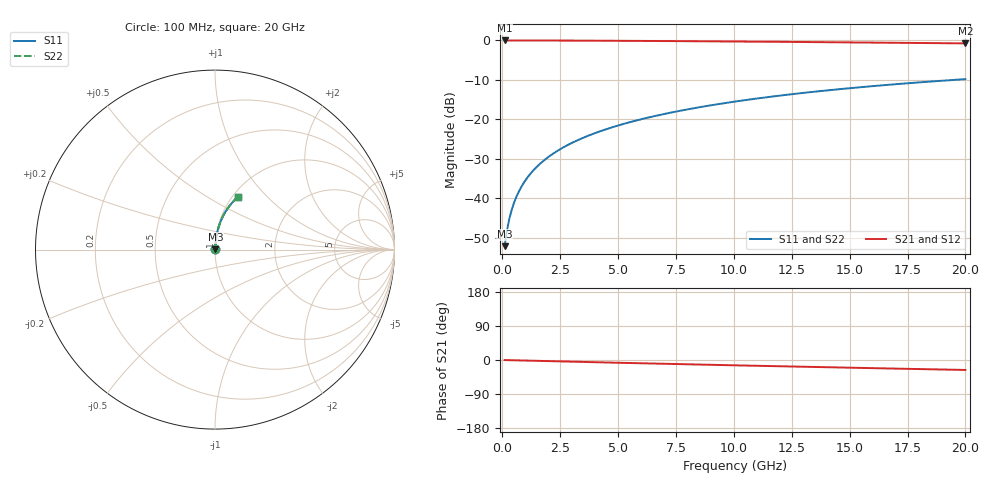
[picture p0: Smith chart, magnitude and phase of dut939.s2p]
! Touchstone file exported from HFSS 2024.1.0
!  File:  C:/UserFiles/LocalFiles/RDL_TSV_Batchsim/temp_RDL_top_939_1779937434.aedt
!  Generated:  11:07:17 AM May 28, 2026
!  Design:  RDL_top
!  Project:  temp_RDL_top_939_1779937434
!  Setup:  Setup1
!  Solution:  Sweep
! Variables:
!  dtsv = 10.80580581um
!  hbump = 3um
!  htsv = 90.66um
!  ldown = 100um
!  lrdl = 299.41um
!  p = 40
!  p1 = 55.69um
!  rhole = 1um
!  t = 450um
!  tdown = 3.915915916um
!  trdl = 4.63um
!  wdown = 15.38538539um
!  wrdl = 13.82um
# GHz S MA R 50.000000
! Terminal data exported
! Port[1] = Box2_T1
! Port[2] = Box2_T2
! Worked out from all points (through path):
!   200 points, 100 MHz to 20 GHz, reference 50 ohm
!   highest |S21| = -0.02 dB at 100 MHz (marker M1); lowest = -0.8 dB at 20 GHz (marker M2)
!   group delay of S21, straight-line fit = 3.63 ps
!   lowest |S11| = -52.1 dB at 100 MHz (marker M3), VSWR 1.00, Z = 50.2 + j0.173 ohm
!   |S11| at or under -10 dB: start of sweep to 19.53 GHz
!   |S22| runs from -52.1 to -9.8 dB; largest |S21 - S12| = 4e-15
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0.1  0.00247 44.3  0.9982 -0.2  0.9982 -0.2  0.00247 44.3
! Gamma 0 0 0 0
! Port Impedance 50 0 50 0
0.2  0.003874 62.0  0.9982 -0.3  0.9982 -0.3  0.003874 62.0
0.3  0.005426 69.9  0.9981 -0.5  0.9981 -0.5  0.005426 69.9
0.4  0.007023 74.2  0.9981 -0.6  0.9981 -0.6  0.007023 74.2
0.5  0.008644 76.9  0.998 -0.8  0.998 -0.8  0.008644 76.9
0.6  0.01028 78.8  0.9979 -0.9  0.9979 -0.9  0.01028 78.8
0.8  0.01357 81.1  0.9978 -1.2  0.9978 -1.2  0.01357 81.1
1.1  0.01854 82.9  0.9975 -1.6  0.9975 -1.6  0.01854 82.9
1.5  0.02519 84.0  0.997 -2.2  0.997 -2.2  0.02519 84.0
1.8  0.03018 84.4  0.9966 -2.7  0.9966 -2.7  0.03018 84.4
2.1  0.03517 84.5  0.9962 -3.1  0.9962 -3.1  0.03517 84.5
2.7  0.04516 84.6  0.995 -4.0  0.995 -4.0  0.04516 84.6
3.5  0.05848 84.3  0.9932 -5.1  0.9932 -5.1  0.05848 84.3
4.2  0.07014 83.9  0.9912 -6.1  0.9912 -6.1  0.07014 83.9
5  0.0835 83.3  0.9888 -7.3  0.9888 -7.3  0.08349 83.3
5.9  0.09854 82.5  0.9857 -8.5  0.9857 -8.5  0.09854 82.5
6.8  0.1136 81.6  0.9823 -9.8  0.9823 -9.8  0.1136 81.6
8.3  0.1387 80.1  0.9762 -11.8  0.9762 -11.8  0.1387 80.1
10.1  0.1687 78.1  0.9683 -14.1  0.9683 -14.1  0.1687 78.1
13.4  0.2226 74.2  0.9523 -18.3  0.9523 -18.3  0.2226 74.2
16.7  0.2742 70.2  0.9348 -22.4  0.9348 -22.4  0.2742 70.2
20  0.3229 66.3  0.916 -26.3  0.916 -26.3  0.3229 66.3
